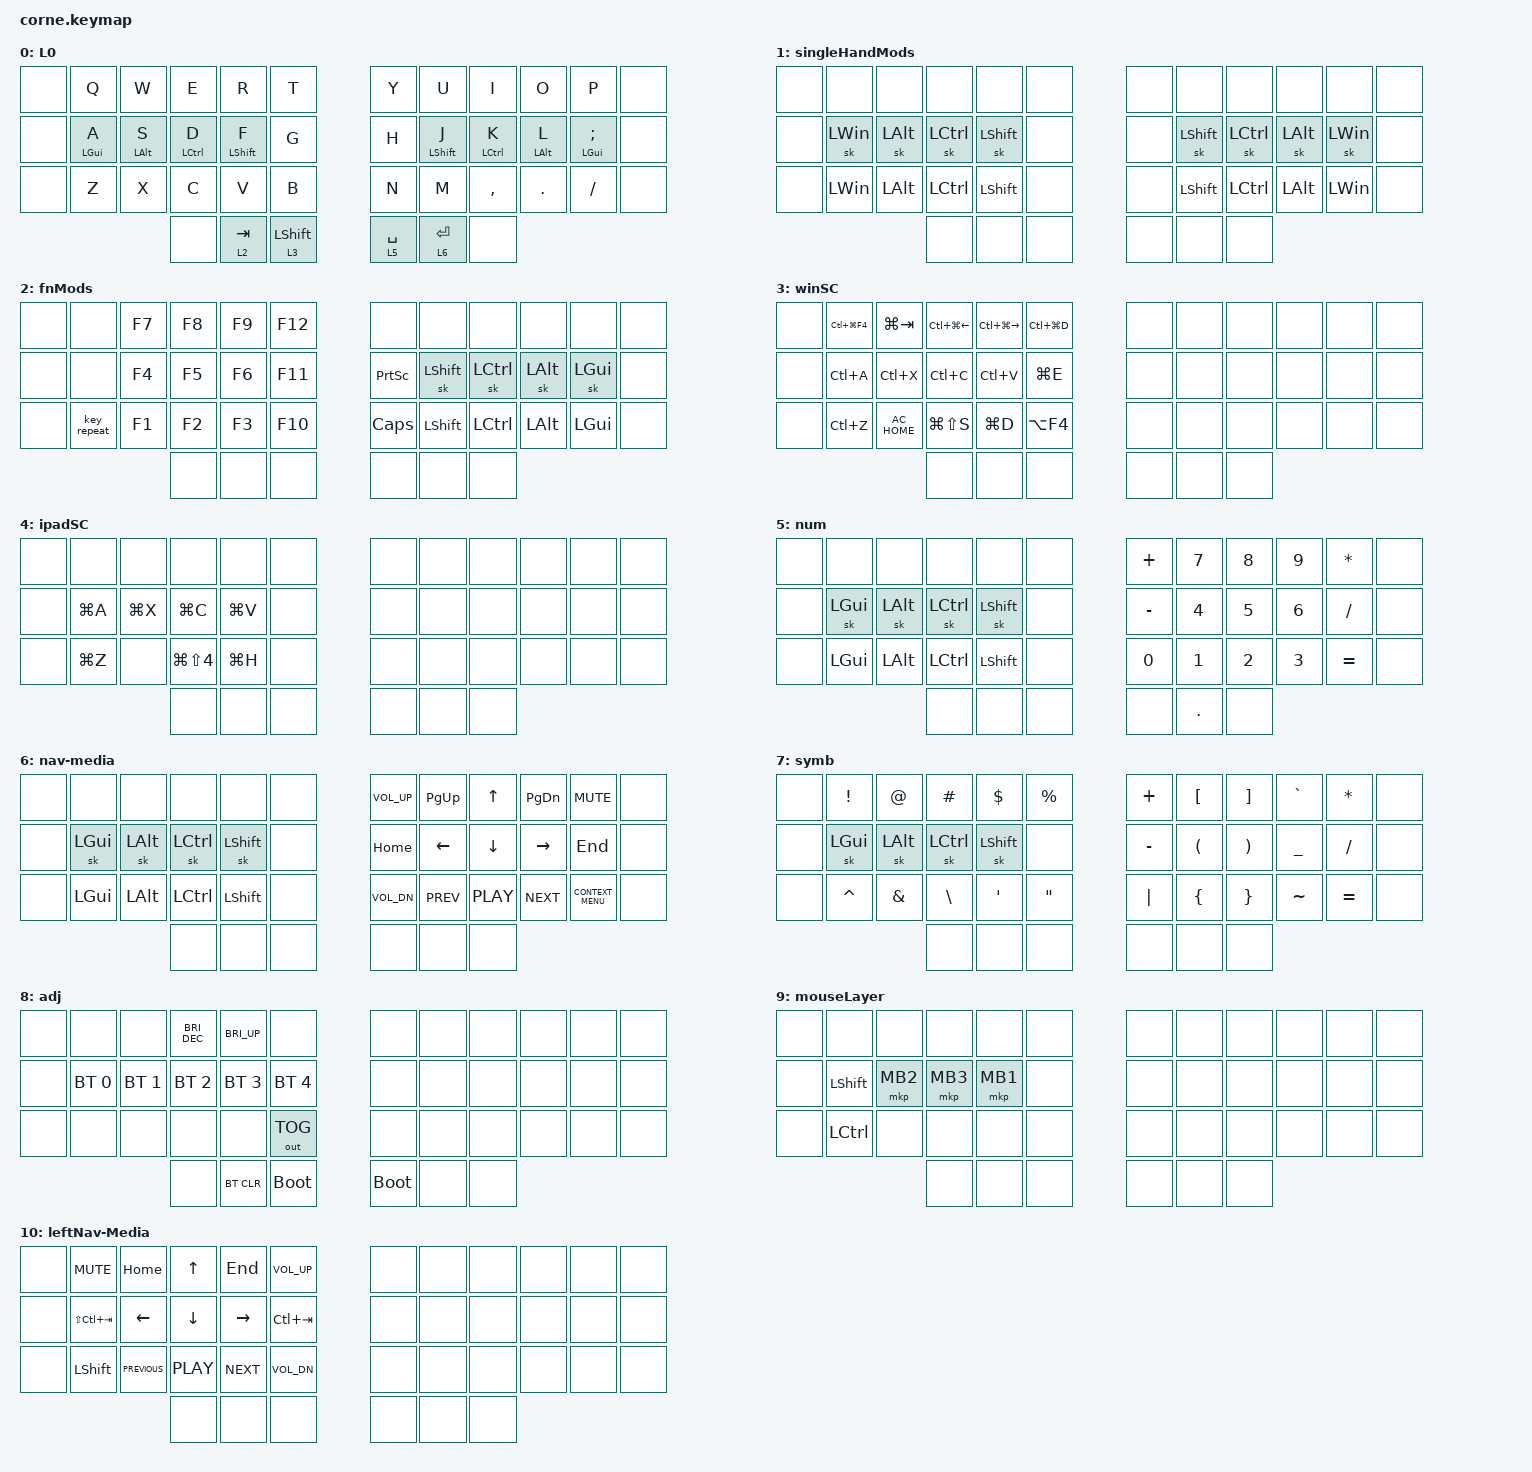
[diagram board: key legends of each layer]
#undef ZMK_BEHAVIORS_KEEP_ALL

#define ZMK_BEHAVIORS_KEEP_SK
#define ZMK_BEHAVIORS_KEEP_MT
#define ZMK_BEHAVIORS_KEEP_KT
#define ZMK_POINTING_DEFAULT_MOVE_VAL 1500  // default: 600
#define ZMK_POINTING_DEFAULT_SCRL_VAL 20    // default: 10

#include <behaviors.dtsi>
#include <dt-bindings/zmk/bt.h>
#include <dt-bindings/zmk/keys.h>
#include <dt-bindings/zmk/outputs.h>
#include <dt-bindings/zmk/pointing.h>

&sk {
    quick-release;
    release-after-ms = <800>;
    lazy;
};

&lt {
    require-prior-idle-ms = <40>;
    flavor = "balanced";
};

/ {
    combos {
        compatible = "zmk,combos";

        escL {
            timeout-ms = <50>;
            bindings = <&kp ESCAPE>;
            key-positions = <3 4>;
            require-prior-idle-ms = <100>;
        };

        backR {
            bindings = <&kp BACKSPACE>;
            key-positions = <19 20>;
            timeout-ms = <50>;
            require-prior-idle-ms = <100>;
        };

        backL {
            bindings = <&kp BACKSPACE>;
            key-positions = <16 15>;
            timeout-ms = <50>;
            require-prior-idle-ms = <100>;
        };

        questionR {
            bindings = <&kp QUESTION>;
            key-positions = <33 32>;
            timeout-ms = <60>;
            require-prior-idle-ms = <80>;
        };

        wordDel {
            bindings = <&kp LC(BACKSPACE)>;
            key-positions = <15 14>;
            timeout-ms = <50>;
            require-prior-idle-ms = <100>;
            layers = <5 7 6>;
        };

        delR {
            bindings = <&kp DELETE>;
            key-positions = <31 32>;
            timeout-ms = <50>;
            require-prior-idle-ms = <100>;
        };

        wordDelR {
            bindings = <&kp LC(BACKSPACE)>;
            key-positions = <20 21>;
            timeout-ms = <50>;
            require-prior-idle-ms = <100>;
        };

        capsWord {
            bindings = <&caps_word>;
            key-positions = <16 19>;
            timeout-ms = <150>;
            require-prior-idle-ms = <100>;
        };

        delL {
            bindings = <&kp DELETE>;
            key-positions = <27 28>;
            timeout-ms = <50>;
            require-prior-idle-ms = <100>;
        };

        toSym {
            bindings = <&mo 7>;
            key-positions = <37 40>;
            timeout-ms = <50>;
            slow-release;
            require-prior-idle-ms = <100>;
        };

        toIpadSC {
            bindings = <&mo 4>;
            key-positions = <38 39>;
            timeout-ms = <50>;
            slow-release;
            require-prior-idle-ms = <100>;
        };

        quotes {
            bindings = <&kp SINGLE_QUOTE>;
            key-positions = <8 9>;
            timeout-ms = <50>;
            require-prior-idle-ms = <100>;
        };

        leftEnter {
            bindings = <&kp ENTER>;
            key-positions = <26 27>;
            timeout-ms = <50>;
            require-prior-idle-ms = <100>;
        };

        Rhand {
            bindings = <&mo 1>;
            key-positions = <38 16>;
            timeout-ms = <50>;
            slow-release;
        };

        LHand {
            bindings = <&mo 1>;
            key-positions = <19 39>;
            timeout-ms = <50>;
            slow-release;
        };

        moMouse {
            bindings = <&mo 9>;
            key-positions = <14 15 16 38>;
            timeout-ms = <180>;
            slow-release;
            require-prior-idle-ms = <80>;
        };

        toLeftNav-Media {
            bindings = <&mo 10>;
            key-positions = <38 2 3 4>;
            timeout-ms = <180>;
            slow-release;
            require-prior-idle-ms = <80>;
        };

        toAdj {
            bindings = <&mo 8>;
            key-positions = <38 13 14 15 16>;
            timeout-ms = <180>;
            slow-release;
            require-prior-idle-ms = <80>;
        };
    };

    behaviors {
        hmr: hmr {
            compatible = "zmk,behavior-hold-tap";
            #binding-cells = <2>;
            label = "hmr";
            bindings = <&kp>, <&kp>;

            tapping-term-ms = <279>;
            hold-trigger-key-positions = <0 1 2 3 4 5 12 13 14 15 16 17 24 25 26 27 28 29 36 37 38 39 40 41>;
            hold-trigger-on-release;             // delay positional check until key-release
            flavor = "balanced";
            require-prior-idle-ms = <200>;
            require-prior-idle-ms = <150>;
            quick-tap-ms = <175>;
        };

        hml: hml {
            compatible = "zmk,behavior-hold-tap";
            #binding-cells = <2>;
            label = "hml";
            bindings = <&kp>, <&kp>;

            tapping-term-ms = <280>;
            hold-trigger-key-positions = <6 7 8 9 10 11 18 19 20 21 22 23 30 31 32 33 34 35 39 40 41 36 37 38>;
            hold-trigger-on-release;
            flavor = "balanced";
            require-prior-idle-ms = <200>;
            quick-tap-ms = <175>;
        };

        stickShiftlt: stickShiftlt {
            compatible = "zmk,behavior-hold-tap";
            label = "STICKSHIFTLT";
            bindings = <&mo>, <&sk>;

            #binding-cells = <2>;
            tapping-term-ms = <280>;
            flavor = "balanced";
            hold-while-undecided;
        };
    };

    keymap {
        compatible = "zmk,keymap";

        L0 {
            bindings = <
&none  &kp Q            &kp W            &kp E                &kp R              &kp T                         &kp Y        &kp U              &kp I                &kp O            &kp P                    &none
&none  &hml LEFT_GUI A  &hml LEFT_ALT S  &hml LEFT_CONTROL D  &hml LEFT_SHIFT F  &kp G                         &kp H        &hmr LEFT_SHIFT J  &hmr LEFT_CONTROL K  &hmr LEFT_ALT L  &hmr LEFT_GUI SEMICOLON  &none
&none  &kp Z            &kp X            &kp C                &kp V              &kp B                         &kp N        &kp M              &kp COMMA            &kp DOT          &kp SLASH                &none
                                         &none                &lt 2 TAB          &stickShiftlt 3 LEFT_SHIFT    &lt 5 SPACE  &lt 6 RET          &none
            >;
        };

        singleHandMods {
            bindings = <
&none  &none         &none     &none      &none      &none    &none  &none      &none      &none     &none         &none
&none  &sk LEFT_WIN  &sk LALT  &sk LCTRL  &sk LSHFT  &none    &none  &sk LSHFT  &sk LCTRL  &sk LALT  &sk LEFT_WIN  &none
&none  &kp LEFT_WIN  &kp LALT  &kp LCTRL  &kp LSHFT  &none    &none  &kp LSHFT  &kp LCTRL  &kp LALT  &kp LEFT_WIN  &none
                               &none      &none      &none    &none  &none      &none
            >;
        };

        fnMods {
            bindings = <
&none  &none        &kp F7  &kp F8  &kp F9  &kp F12    &none            &none           &none      &none     &none         &none
&none  &none        &kp F4  &kp F5  &kp F6  &kp F11    &kp PRINTSCREEN  &sk LEFT_SHIFT  &sk LCTRL  &sk LALT  &sk LEFT_GUI  &none
&none  &key_repeat  &kp F1  &kp F2  &kp F3  &kp F10    &kp CAPS         &kp LEFT_SHIFT  &kp LCTRL  &kp LALT  &kp LEFT_GUI  &none
                            &none   &none   &none      &none            &none           &none
            >;
        };

        winSC {
            bindings = <
&none  &kp LC(LG(F4))  &kp LG(TAB)    &kp LC(LG(LEFT))  &kp LC(LG(RIGHT))  &kp LC(LG(D))    &none  &none  &none  &none  &none  &none
&none  &kp LC(A)       &kp LC(X)      &kp LC(C)         &kp LC(V)          &kp LG(E)        &none  &none  &none  &none  &none  &none
&none  &kp LC(Z)       &kp C_AC_HOME  &kp LG(LS(S))     &kp LG(D)          &kp LA(F4)       &none  &none  &none  &none  &none  &none
                                      &none             &none              &none            &none  &none  &none
            >;
        };

        ipadSC {
            bindings = <
&none  &none      &none      &none                 &none      &none    &none  &none  &none  &none  &none  &none
&none  &kp LG(A)  &kp LG(X)  &kp LG(C)             &kp LG(V)  &none    &none  &none  &none  &none  &none  &none
&none  &kp LG(Z)  &none      &kp LG(LS(NUMBER_4))  &kp LG(H)  &none    &none  &none  &none  &none  &none  &none
                             &none                 &none      &none    &none  &none  &none
            >;
        };

        num {
            bindings = <
&none  &none         &none     &none      &none           &none    &kp PLUS   &kp N7      &kp N8  &kp N9  &kp STAR   &none
&none  &sk LEFT_GUI  &sk LALT  &sk LCTRL  &sk LEFT_SHIFT  &none    &kp MINUS  &kp N4      &kp N5  &kp N6  &kp SLASH  &none
&none  &kp LEFT_GUI  &kp LALT  &kp LCTRL  &kp LEFT_SHIFT  &none    &kp N0     &kp N1      &kp N2  &kp N3  &kp EQUAL  &none
                               &none      &none           &none    &none      &kp PERIOD  &none
            >;
        };

        nav-media {
            bindings = <
&none  &none         &none     &none      &none           &none    &kp C_VOL_UP  &kp PG_UP   &kp UP      &kp PG_DN   &kp C_MUTE          &none
&none  &sk LEFT_GUI  &sk LALT  &sk LCTRL  &sk LEFT_SHIFT  &none    &kp HOME      &kp LEFT    &kp DOWN    &kp RIGHT   &kp END             &none
&none  &kp LEFT_GUI  &kp LALT  &kp LCTRL  &kp LEFT_SHIFT  &none    &kp C_VOL_DN  &kp C_PREV  &kp C_PLAY  &kp C_NEXT  &kp K_CONTEXT_MENU  &none
                               &none      &none           &none    &none         &none       &none
            >;
        };

        symb {
            bindings = <
&none  &kp EXCL      &kp AT    &kp HASH       &kp DLLR          &kp PERCENT          &kp PLUS   &kp LEFT_BRACKET      &kp RIGHT_BRACKET      &kp GRAVE  &kp STAR   &none
&none  &sk LEFT_GUI  &sk LALT  &sk LCTRL      &sk LEFT_SHIFT    &none                &kp MINUS  &kp LEFT_PARENTHESIS  &kp RIGHT_PARENTHESIS  &kp UNDER  &kp SLASH  &none
&none  &kp CARET     &kp AMPS  &kp BACKSLASH  &kp SINGLE_QUOTE  &kp DOUBLE_QUOTES    &kp PIPE   &kp LEFT_BRACE        &kp RIGHT_BRACE        &kp TILDE  &kp EQUAL  &none
                               &none          &none             &none                &none      &none                 &none
            >;
        };

        adj {
            bindings = <
&none  &none         &none         &kp C_BRI_DEC  &kp C_BRI_UP  &none           &none        &none  &none  &none  &none  &none
&none  &bt BT_SEL 0  &bt BT_SEL 1  &bt BT_SEL 2   &bt BT_SEL 3  &bt BT_SEL 4    &none        &none  &none  &none  &none  &none
&none  &none         &none         &none          &none         &out OUT_TOG    &none        &none  &none  &none  &none  &none
                                   &none          &bt BT_CLR    &bootloader     &bootloader  &none  &none
            >;
        };

        mouseLayer {
            bindings = <
&none  &none             &none     &none     &none     &none    &none  &none  &none  &none  &none  &none
&none  &kp LEFT_SHIFT    &mkp MB2  &mkp MB3  &mkp MB1  &none    &none  &none  &none  &none  &none  &none
&none  &kp LEFT_CONTROL  &none     &none     &none     &none    &none  &none  &none  &none  &none  &none
                                   &none     &none     &none    &none  &none  &none
            >;
        };

        leftNav-Media {
            bindings = <
&none  &kp C_MUTE       &kp HOME        &kp UP      &kp END     &kp C_VOLUME_UP    &none  &none  &none  &none  &none  &none
&none  &kp LS(LC(TAB))  &kp LEFT        &kp DOWN    &kp RIGHT   &kp LC(TAB)        &none  &none  &none  &none  &none  &none
&none  &kp LEFT_SHIFT   &kp C_PREVIOUS  &kp C_PLAY  &kp C_NEXT  &kp C_VOL_DN       &none  &none  &none  &none  &none  &none
                                        &none       &none       &none              &none  &none  &none
            >;
        };
    };
};
